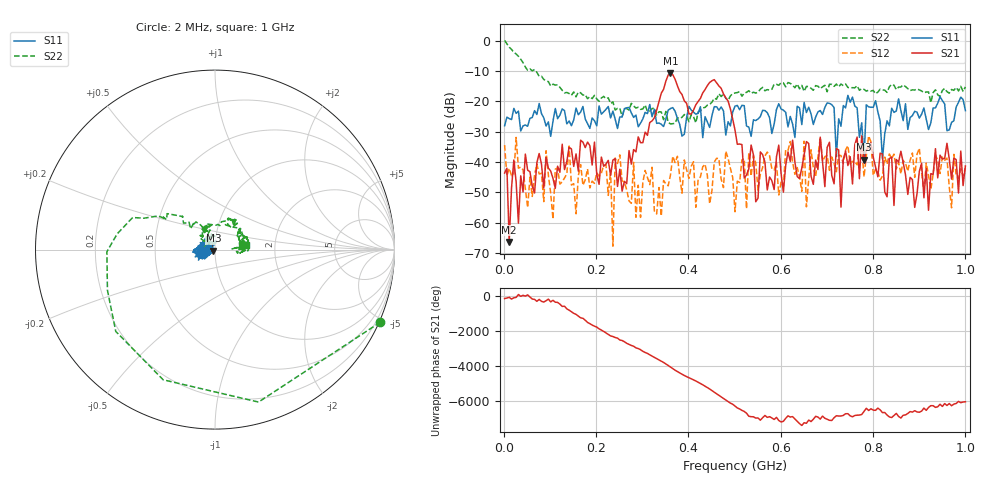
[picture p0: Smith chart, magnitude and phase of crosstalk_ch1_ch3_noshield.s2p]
!Keysight Technologies N9923A: A.12.45
!Date: Friday, 10 October 2025 01:59:55
!Timezone: (UTC+08:00) Kuala Lumpur, Singapore
!Model: N9923A
!Serial: MY61181427
!GPS Latitude:
!GPS Longitude:
!GPS TimeStamp: 0001-01-01 00:00:00Z
!GPS Seconds Since Last Read: 0
!CHECKSUM:1313141591
!Correction: S11(ON U?)S21(ON U?)S12(ON U?)S22(ON U?)
!S2P File: Measurements:S11,S21,S12,S22:
# Hz S DB R 50
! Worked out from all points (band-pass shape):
!   201 points, 2 MHz to 1 GHz, reference 50 ohm
!   highest |S21| = -10.72 dB at 361.3 MHz (marker M1); lowest = -66.3 dB at 11.98 MHz (marker M2)
!   |S21| within 3 dB of the highest: 350.6 MHz to 373.6 MHz (23 MHz wide, 6.35 % of centre); 446.7 MHz to 460.3 MHz (13.65 MHz wide, 3.01 % of centre)
!   lowest |S11| = -39.3 dB at 780.4 MHz (marker M3), VSWR 1.02, Z = 49.1 - j0.544 ohm
!   |S11| at or under -10 dB: start of sweep to end of sweep
!   |S22| runs from -27.4 to 0.0 dB; largest |S21 - S12| = 0.3
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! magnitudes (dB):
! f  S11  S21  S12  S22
! 2 MHz  -28.1  -43.6  -34.4  0.0
! 11.98 MHz  -25.7  -66.3  -42.1  -2.2
! 21.96 MHz  -22.3  -39.3  -44.2  -3.9
! 31.94 MHz  -23.3  -60.2  -42.0  -5.2
! 46.91 MHz  -27.8  -37.4  -48.8  -8.7
! 171.7 MHz  -21.7  -33.5  -47.7  -18.0
! 231.5 MHz  -25.5  -44.5  -42.8  -20.7
! 236.5 MHz  -23.2  -39.3  -67.7  -20.2
! 241.5 MHz  -25.9  -39.0  -38.7  -22.9
! 256.5 MHz  -25.2  -49.6  -46.2  -25.0
! 336.3 MHz  -27.2  -20.2  -48.4  -23.4
! 361.3 MHz  -22.4  -10.7  -44.3  -27.4
! 481 MHz  -31.1  -18.9  -36.5  -19.0
! 501 MHz  -21.6  -29.5  -56.4  -17.2
! 545.9 MHz  -26.4  -53.1  -40.3  -17.3
! 625.8 MHz  -27.5  -32.8  -40.1  -14.7
! 670.7 MHz  -27.6  -47.4  -41.9  -16.4
! 755.5 MHz  -18.6  -47.2  -39.8  -15.5
! 780.4 MHz  -39.3  -40.1  -44.9  -16.1
! 785.4 MHz  -21.2  -36.0  -38.0  -16.6
! 835.3 MHz  -28.1  -38.9  -37.4  -15.2
! 1 GHz  -23.1  -41.3  -42.0  -15.3
